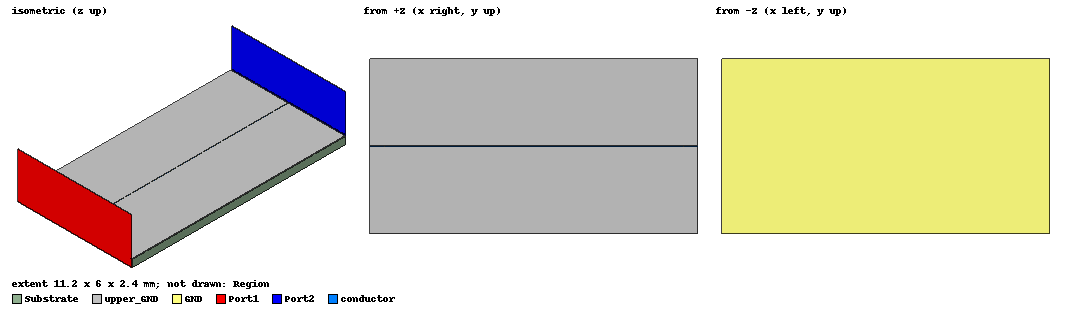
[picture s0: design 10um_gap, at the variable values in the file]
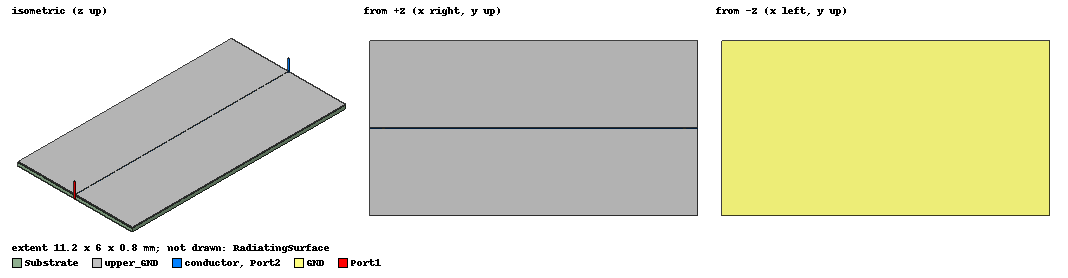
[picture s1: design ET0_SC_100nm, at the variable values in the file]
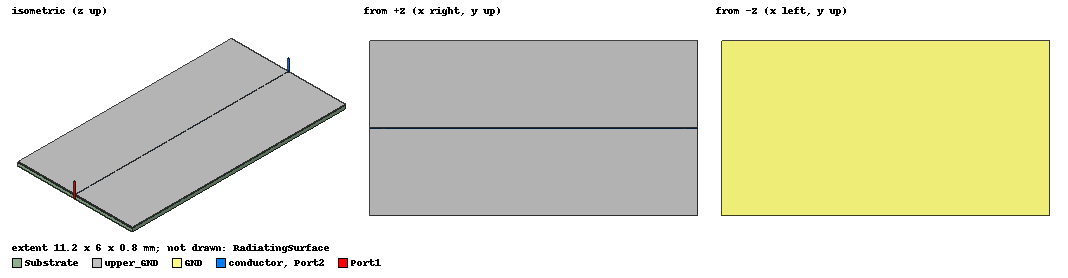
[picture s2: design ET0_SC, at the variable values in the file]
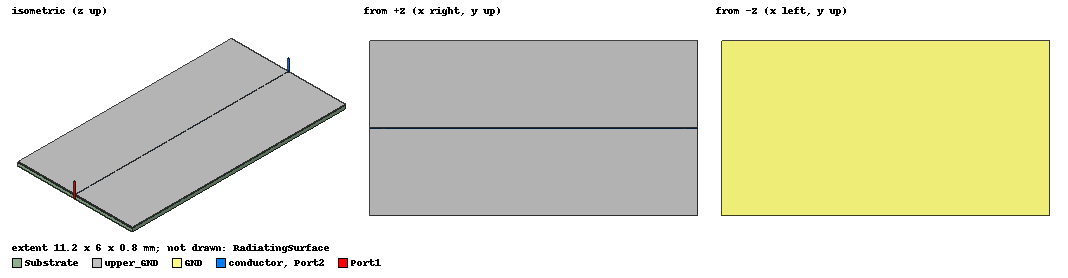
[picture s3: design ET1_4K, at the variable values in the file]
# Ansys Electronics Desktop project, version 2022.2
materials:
  vacuum: permittivity=1
  silicon: permittivity=11.9
  aluminum: permeability=1.000021 conductivity=38000000
  pec: conductivity=1e+30

design 10um_gap (HFSS, DrivenModal, model units mm)
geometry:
  Substrate [silicon] = box(corner=((-5.1-0.5) mm, -3mm, 0mm), size=((10.2+1) mm, 6mm, -0.4mm))
  Box1 = box(corner=(5.1mm, -3mm, -0.4mm), size=(10um, 6mm, 1.4mm))
  Box1_1 = Box1.duplicate_mirror(point=(0mm, 0mm, 0mm), normal=(-1mm, 0mm, 0mm))
  Substrate_Section1 [silicon, non-model] = Substrate.section(plane=ZX)
  Substrate_Section1.thicken(10um, both sides)
  Substrate_Section2 = Substrate.section(plane=ZX)
  Substrate_Section2.thicken((10+14.2) um, both sides)
  upper_GND [silicon] = object_from(Substrate.face(+z))
  GND [silicon] = object_from(Substrate.face(-z))
  upper_GND.subtract(Substrate_Section2)
  conductor [aluminum] = object_from(Substrate_Section1.face(at (0, 0, 0)))
  conductor.subtract(Box1)
  conductor.subtract(Box1_1)
  Region [vacuum] = region(absolute_offset: +X=0mm, -X=0mm, +Y=0mm, -Y=0mm, +Z=0mm, -Z=0.5mm)
  Port1 = rectangle(corner=(5.6mm, -3mm, -0.4mm), y_size=6mm, z_size=2.4mm)
  Port2 = rectangle(corner=(-5.6mm, -3mm, 2mm), y_size=6mm, z_size=-2.4mm)
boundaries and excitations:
  upper_GND: Perfect E Objects=upper_GND
  Rad1: Radiation Objects=Region
  GND: Perfect E Objects=GND InfGroundPlane
  PerfE1: Perfect E Objects=conductor
  1: Wave Port Objects=Port1 NumModes=1 Modes{Mode1{IntLine{(5.6, 0, 2) -> (5.6, 0, -0.4)} CharImp=Zpi}}
  2: Wave Port Objects=Port2 NumModes=1 Modes{Mode1{IntLine{(-5.6, 0, 2) -> (-5.6, 0, -0.4)} CharImp=Zpi}}
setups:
  Setup1: HfssDriven Frequency=6GHz MaxDeltaS=0.015 MaximumPasses=10 MinimumPasses=1 MinimumConvergedPasses=1 PercentRefinement=40 BasisOrder=1 PortAccuracy=2 DrivenSolverType="Direct Solver"
    sweep Sweep: 4GHz to 8GHz, 1601 points; Type=Fast SaveFields
    sweep Sweep1: 5.7GHz to 5.9GHz, 1601 points; Type=Fast SaveFields
    sweep Sweep2: 5.8GHz to 5.9GHz, 1601 points; Type=Fast SaveFields
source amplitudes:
  1:1: 1W 0deg
  2:1: 0W 0deg
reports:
  S Parameter Plot 1: dB(S(2,1)), dB(S(1,1)) vs Freq on Setup1 : Sweep2; markers m1 at 5.866375GHz, MY1 at y=-33.1732
  Port Zo Plot 1: mag(Zo(1)) vs Freq on Setup1 : Sweep1

design ET0_SC_100nm (HFSS, DrivenModal, model units mm)
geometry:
  Substrate [silicon] = box(corner=((-5.1-0.5) mm, -3mm, 0mm), size=((10.2+1) mm, 6mm, -0.2mm))
  Box1 = box(corner=(5.1mm, -3mm, -0.4mm), size=(10um, 6mm, 1.4mm))
  Box1_1 = Box1.duplicate_mirror(point=(0mm, 0mm, 0mm), normal=(-1mm, 0mm, 0mm))
  Substrate_Section1 [silicon, non-model] = Substrate.section(plane=ZX)
  Substrate_Section1.thicken(10um, both sides)
  Substrate_Section2 = Substrate.section(plane=ZX)
  Substrate_Section2.thicken((10+14.2) um, both sides)
  upper_GND [pec] = object_from(Substrate.face(+z))
  GND [silicon] = object_from(Substrate.face(-z))
  upper_GND.subtract(Substrate_Section2)
  conductor [pec] = object_from(Substrate_Section1.face(at (0, 0, 0)))
  conductor.subtract(Box1)
  conductor.subtract(Box1_1)
  Port1 = rectangle(corner=(5.6mm, -50um, -0.2mm), y_size=100um, z_size=0.8mm)
  Rectangle3 = rectangle(corner=(5.1mm, -0.005mm, 0mm), x_size=0.1mm, y_size=0.0033mm)
  Rectangle4 = rectangle(corner=(5.1mm, 0.005mm, 0mm), x_size=(0.1+0.0033) mm, y_size=-0.01mm)
  conductor.subtract(Rectangle4)
  Rectangle5 = rectangle(corner=(5.1mm, -0.005mm, 0mm), x_size=0.1mm, y_size=0.0033mm)
  Rectangle5.move(0.0033mm, 0.0067mm, 0mm)
  conductor.unite(Rectangle5, Rectangle3)
  Rectangle6 = rectangle(corner=(-5.1mm, 0.005mm, 0mm), x_size=-0.1mm, y_size=-0.0033mm)
  Rectangle7 = rectangle(corner=(-5.1mm, -0.005mm, 0mm), x_size=-0.1033mm, y_size=0.01mm)
  conductor.subtract(Rectangle7)
  Rectangle8 = rectangle(corner=(-5.1mm, 0.005mm, 0mm), x_size=-0.1mm, y_size=-0.0033mm)
  Rectangle8.move(-0.0033mm, -0.0067mm, 0mm)
  conductor.unite(Rectangle8, Rectangle6)
  Port2 = Port1.duplicate_mirror(point=(0mm, 0mm, 0mm), normal=(-1mm, 0mm, 0mm))
  Rectangle9 [non-model] = rectangle(corner=(5.6mm, -0.05mm, -50um), y_size=0.1mm, z_size=100um)
  [conductor, upper_GND].thicken(100nm)
  RadiatingSurface [vacuum] = region(absolute_offset: +X=0mm, -X=0mm, +Y=18.181818mm, -Y=18.181818mm, +Z=18.181818mm, -Z=18.181818mm)
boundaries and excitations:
  GND: Perfect E Objects=GND InfGroundPlane
  Open1: Radiation Objects=RadiatingSurface
  1: Wave Port Objects=Port1 NumModes=1 Modes{Mode1{CharImp=Zpi}}
  2: Wave Port Objects=Port2 NumModes=1 Modes{Mode1{CharImp=Zpi}}
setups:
  Setup1: HfssDriven MultipleAdaptiveFreqsSetup{Low=5.5GHz High=5.8GHz} MaxDeltaS=0.015 MaximumPasses=12 MinimumPasses=1 MinimumConvergedPasses=1 PercentRefinement=40 BasisOrder=1 PortAccuracy=2 DrivenSolverType="Direct Solver"
    sweep Sweep: 5GHz to 6GHz, 1601 points; Type=Fast SaveFields
    sweep Sweep1: 5.6GHz to 5.8GHz, 201 points; Type=Discrete SaveFields
    sweep Sweep2: 5.3GHz to 5.8GHz, 1601 points; Type=Fast SaveFields
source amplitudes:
  1:1: 1W 0deg
  2:1: 0W 0deg
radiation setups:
  3D: Infinite Sphere Theta=0deg..180deg step 2deg Phi=-180deg..180deg step 2deg
  Elevation: Infinite Sphere Theta=-180deg..180deg step 1deg Phi=0deg..90deg step 90deg
  Azimuth: Infinite Sphere Theta=90deg..90deg step 0deg Phi=-180deg..180deg step 1deg
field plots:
  Mag_E1: E Field over Port1.face(at (5.6, 0, 0.2)) on Setup1 : Sweep at Freq=5GHz Phase=0deg
  Vector_E1: E Field over a plane on Setup1 : LastAdaptive at Freq=5.65GHz Phase=0deg
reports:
  S Parameter Plot 1: dB(S(2,1)) vs Freq on Setup1 : Sweep; markers m1 at 5.714GHz, MY1 at y=-4.921
  Port Zo Plot 1: mag(Zo(1)) vs Freq on Setup1 : Sweep1

design ET0_SC (HFSS, DrivenModal, model units mm)
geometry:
  Substrate [silicon] = box(corner=((-5.1-0.5) mm, -3mm, 0mm), size=((10.2+1) mm, 6mm, -0.2mm))
  Box1 = box(corner=(5.1mm, -3mm, -0.4mm), size=(10um, 6mm, 1.4mm))
  Box1_1 = Box1.duplicate_mirror(point=(0mm, 0mm, 0mm), normal=(-1mm, 0mm, 0mm))
  Substrate_Section1 [silicon, non-model] = Substrate.section(plane=ZX)
  Substrate_Section1.thicken(10um, both sides)
  Substrate_Section2 = Substrate.section(plane=ZX)
  Substrate_Section2.thicken((10+14.2) um, both sides)
  upper_GND [pec] = object_from(Substrate.face(+z))
  GND [silicon] = object_from(Substrate.face(-z))
  upper_GND.subtract(Substrate_Section2)
  conductor [pec] = object_from(Substrate_Section1.face(at (0, 0, 0)))
  conductor.subtract(Box1)
  conductor.subtract(Box1_1)
  Port1 = rectangle(corner=(5.6mm, -50um, -0.2mm), y_size=100um, z_size=0.8mm)
  Rectangle3 = rectangle(corner=(5.1mm, -0.005mm, 0mm), x_size=0.1mm, y_size=0.0033mm)
  Rectangle4 = rectangle(corner=(5.1mm, 0.005mm, 0mm), x_size=(0.1+0.0033) mm, y_size=-0.01mm)
  conductor.subtract(Rectangle4)
  Rectangle5 = rectangle(corner=(5.1mm, -0.005mm, 0mm), x_size=0.1mm, y_size=0.0033mm)
  Rectangle5.move(0.0033mm, 0.0067mm, 0mm)
  conductor.unite(Rectangle5, Rectangle3)
  Rectangle6 = rectangle(corner=(-5.1mm, 0.005mm, 0mm), x_size=-0.1mm, y_size=-0.0033mm)
  Rectangle7 = rectangle(corner=(-5.1mm, -0.005mm, 0mm), x_size=-0.1033mm, y_size=0.01mm)
  conductor.subtract(Rectangle7)
  Rectangle8 = rectangle(corner=(-5.1mm, 0.005mm, 0mm), x_size=-0.1mm, y_size=-0.0033mm)
  Rectangle8.move(-0.0033mm, -0.0067mm, 0mm)
  conductor.unite(Rectangle8, Rectangle6)
  Port2 = Port1.duplicate_mirror(point=(0mm, 0mm, 0mm), normal=(-1mm, 0mm, 0mm))
  Rectangle9 [non-model] = rectangle(corner=(5.6mm, -0.05mm, -50um), y_size=0.1mm, z_size=100um)
  RadiatingSurface [vacuum] = region(absolute_offset: +X=0mm, -X=0mm, +Y=17.54386mm, -Y=17.54386mm, +Z=17.54386mm, -Z=17.54386mm)
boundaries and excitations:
  GND: Perfect E Objects=GND InfGroundPlane
  conductor: Perfect E Objects=conductor
  upper_GND: Perfect E Objects=upper_GND
  Open1: Radiation Objects=RadiatingSurface
  1: Wave Port Objects=Port1 NumModes=1 Modes{Mode1{CharImp=Zpi}}
  2: Wave Port Objects=Port2 NumModes=1 Modes{Mode1{CharImp=Zpi}}
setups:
  Setup1: HfssDriven MultipleAdaptiveFreqsSetup{Low=5.5GHz High=5.8GHz} MaxDeltaS=0.015 MaximumPasses=12 MinimumPasses=1 MinimumConvergedPasses=1 PercentRefinement=40 BasisOrder=1 PortAccuracy=2 DrivenSolverType="Direct Solver"
    sweep Sweep: 5GHz to 6GHz, 1601 points; Type=Fast SaveFields
    sweep Sweep1: 5.6GHz to 5.8GHz, 201 points; Type=Discrete SaveFields
    sweep Sweep2: 5.3GHz to 5.8GHz, 1601 points; Type=Fast SaveFields
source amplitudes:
  1:1: 1W 0deg
  2:1: 0W 0deg
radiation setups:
  3D: Infinite Sphere Theta=0deg..180deg step 2deg Phi=-180deg..180deg step 2deg
  Elevation: Infinite Sphere Theta=-180deg..180deg step 1deg Phi=0deg..90deg step 90deg
  Azimuth: Infinite Sphere Theta=90deg..90deg step 0deg Phi=-180deg..180deg step 1deg
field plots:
  Mag_E1: E Field over Port1.face(at (5.6, 0, 0.2)) on Setup1 : Sweep at Freq=5GHz Phase=0deg
  Vector_E1: E Field over a plane on Setup1 : LastAdaptive at Freq=5.65GHz Phase=0deg
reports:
  S Parameter Plot 1: dB(S(2,1)) vs Freq on Setup1 : Sweep1; markers m1 at 5.616875GHz, MY1 at y=-5.5341
  Port Zo Plot 1: mag(Zo(1)) vs Freq on Setup1 : Sweep1

design ET1_4K (HFSS, DrivenModal, model units mm)
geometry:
  Substrate [silicon] = box(corner=((-5.1-0.5) mm, -3mm, 0mm), size=((10.2+1) mm, 6mm, -0.2mm))
  Box1 = box(corner=(5.1mm, -3mm, -0.4mm), size=(10um, 6mm, 1.4mm))
  Box1_1 = Box1.duplicate_mirror(point=(0mm, 0mm, 0mm), normal=(-1mm, 0mm, 0mm))
  Substrate_Section1 [silicon, non-model] = Substrate.section(plane=ZX)
  Substrate_Section1.thicken(10um, both sides)
  Substrate_Section2 = Substrate.section(plane=ZX)
  Substrate_Section2.thicken((10+14.2) um, both sides)
  upper_GND [pec] = object_from(Substrate.face(+z))
  GND [silicon] = object_from(Substrate.face(-z))
  upper_GND.subtract(Substrate_Section2)
  conductor [pec] = object_from(Substrate_Section1.face(at (0, 0, 0)))
  conductor.subtract(Box1)
  conductor.subtract(Box1_1)
  Port1 = rectangle(corner=(5.6mm, -50um, -0.2mm), y_size=100um, z_size=0.8mm)
  Rectangle3 = rectangle(corner=(5.1mm, -0.005mm, 0mm), x_size=0.1mm, y_size=0.0033mm)
  Rectangle4 = rectangle(corner=(5.1mm, 0.005mm, 0mm), x_size=(0.1+0.0033) mm, y_size=-0.01mm)
  conductor.subtract(Rectangle4)
  Rectangle5 = rectangle(corner=(5.1mm, -0.005mm, 0mm), x_size=0.1mm, y_size=0.0033mm)
  Rectangle5.move(0.0033mm, 0.0067mm, 0mm)
  conductor.unite(Rectangle5, Rectangle3)
  Rectangle6 = rectangle(corner=(-5.1mm, 0.005mm, 0mm), x_size=-0.1mm, y_size=-0.0033mm)
  Rectangle7 = rectangle(corner=(-5.1mm, -0.005mm, 0mm), x_size=-0.1033mm, y_size=0.01mm)
  conductor.subtract(Rectangle7)
  Rectangle8 = rectangle(corner=(-5.1mm, 0.005mm, 0mm), x_size=-0.1mm, y_size=-0.0033mm)
  Rectangle8.move(-0.0033mm, -0.0067mm, 0mm)
  conductor.unite(Rectangle8, Rectangle6)
  Port2 = Port1.duplicate_mirror(point=(0mm, 0mm, 0mm), normal=(-1mm, 0mm, 0mm))
  Rectangle9 [non-model] = rectangle(corner=(5.6mm, -0.05mm, -50um), y_size=0.1mm, z_size=100um)
  RadiatingSurface [vacuum] = region(absolute_offset: +X=0mm, -X=0mm, +Y=17.54386mm, -Y=17.54386mm, +Z=17.54386mm, -Z=17.54386mm)
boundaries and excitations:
  GND: Perfect E Objects=GND InfGroundPlane
  upper_GND: Perfect E Objects=upper_GND
  Open1: Radiation Objects=RadiatingSurface
  conductor: Finite Conductivity Objects=conductor Conductivity=10^8/0.0001 Permeability=1 IsInternal
  1: Wave Port Objects=Port1 NumModes=1 Modes{Mode1{CharImp=Zpi}}
  2: Wave Port Objects=Port2 NumModes=1 Modes{Mode1{CharImp=Zpi}}
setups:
  Setup1: HfssDriven MultipleAdaptiveFreqsSetup{Low=5.5GHz High=5.8GHz} MaxDeltaS=0.015 MaximumPasses=12 MinimumPasses=1 MinimumConvergedPasses=1 PercentRefinement=40 BasisOrder=1 PortAccuracy=2 DrivenSolverType="Direct Solver"
    sweep Sweep: 5GHz to 6GHz, 1601 points; Type=Fast SaveFields
    sweep Sweep1: 5.6GHz to 5.8GHz, 201 points; Type=Discrete SaveFields
    sweep Sweep2: 5.3GHz to 5.8GHz, 1601 points; Type=Fast SaveFields
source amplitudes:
  1:1: 1W 0deg
  2:1: 0W 0deg
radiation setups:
  3D: Infinite Sphere Theta=0deg..180deg step 2deg Phi=-180deg..180deg step 2deg
  Elevation: Infinite Sphere Theta=-180deg..180deg step 1deg Phi=0deg..90deg step 90deg
  Azimuth: Infinite Sphere Theta=90deg..90deg step 0deg Phi=-180deg..180deg step 1deg
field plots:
  Mag_E1: E Field over Port1.face(at (5.6, 0, 0.2)) on Setup1 : Sweep at Freq=5GHz Phase=0deg
  Vector_E1: E Field over a plane on Setup1 : LastAdaptive at Freq=5.65GHz Phase=0deg
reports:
  S Parameter Plot 1: dB(S(2,1)) vs Freq on Setup1 : Sweep; markers m1 at 5.616875GHz, MY1 at y=-5.5341
  Port Zo Plot 1: mag(Zo(1)) vs Freq on Setup1 : Sweep
